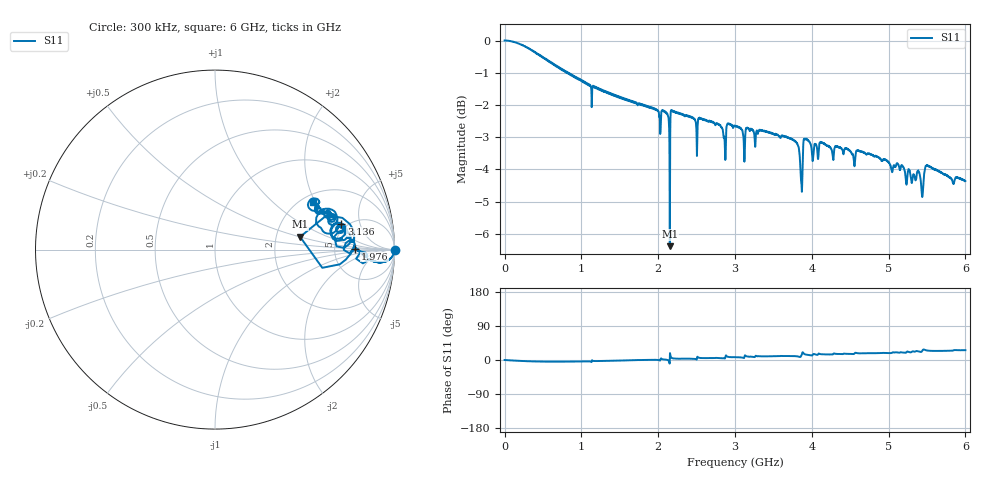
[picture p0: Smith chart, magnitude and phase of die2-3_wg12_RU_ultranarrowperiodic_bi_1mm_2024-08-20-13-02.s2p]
!Keysight Technologies,P9374A,MY57304198,A.17.20.09
!Date: Tuesday, August 20, 2024 13:02:33
!Correction: S11(C  1-Port  )
!S21(C  1-Port  )
!S12(Off)
!S22(Off)
!S2P File: Measurements: S11, S21, S12, S22:
# Hz S  dB  R 50
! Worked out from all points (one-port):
!   6000 points, 300 kHz to 6 GHz, reference 50 ohm
!   lowest |S11| = -6.4 dB at 2.152 GHz (marker M1), VSWR 2.84, Z = 137 + j25.3 ohm
!   |S11| at or under -10 dB: nowhere
!   S11 on the Smith chart (normalised r, x): 300 kHz: open; 1.976 GHz: 8.17, +0.22; 3.136 GHz: 4.45, +2.66; 6 GHz: 2.28, +1.90
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300000  0.00 -0.0  -200.00 45.0  -200.00 45.0  -200.00 45.0
4.20349e8  -0.39 -3.9  -200.00 45.0  -200.00 45.0  -200.00 45.0
1.000417e9  -1.24 -3.9  -200.00 45.0  -200.00 45.0  -200.00 45.0
1.97553e9  -2.14 0.4  -200.00 45.0  -200.00 45.0  -200.00 45.0
2.000533e9  -2.20 -0.0  -200.00 45.0  -200.00 45.0  -200.00 45.0
2.05854e9  -2.19 1.9  -200.00 45.0  -200.00 45.0  -200.00 45.0
2.120547e9  -2.28 0.1  -200.00 45.0  -200.00 45.0  -200.00 45.0
2.151551e9  -6.39 8.5  -200.00 45.0  -200.00 45.0  -200.00 45.0
2.196556e9  -2.19 4.2  -200.00 45.0  -200.00 45.0  -200.00 45.0
2.473589e9  -2.43 3.1  -200.00 45.0  -200.00 45.0  -200.00 45.0
2.862634e9  -3.01 4.6  -200.00 45.0  -200.00 45.0  -200.00 45.0
3.00065e9  -2.64 7.4  -200.00 45.0  -200.00 45.0  -200.00 45.0
3.135666e9  -2.87 11.6  -200.00 45.0  -200.00 45.0  -200.00 45.0
3.759739e9  -3.09 10.4  -200.00 45.0  -200.00 45.0  -200.00 45.0
3.836748e9  -3.44 8.3  -200.00 45.0  -200.00 45.0  -200.00 45.0
3.862751e9  -4.37 11.3  -200.00 45.0  -200.00 45.0  -200.00 45.0
3.902755e9  -3.06 15.8  -200.00 45.0  -200.00 45.0  -200.00 45.0
4.000767e9  -3.44 11.9  -200.00 45.0  -200.00 45.0  -200.00 45.0
5.000883e9  -3.79 18.3  -200.00 45.0  -200.00 45.0  -200.00 45.0
5.412932e9  -4.26 21.4  -200.00 45.0  -200.00 45.0  -200.00 45.0
5.477939e9  -3.93 26.4  -200.00 45.0  -200.00 45.0  -200.00 45.0
6e9  -4.36 25.9  -200.00 45.0  -200.00 45.0  -200.00 45.0
